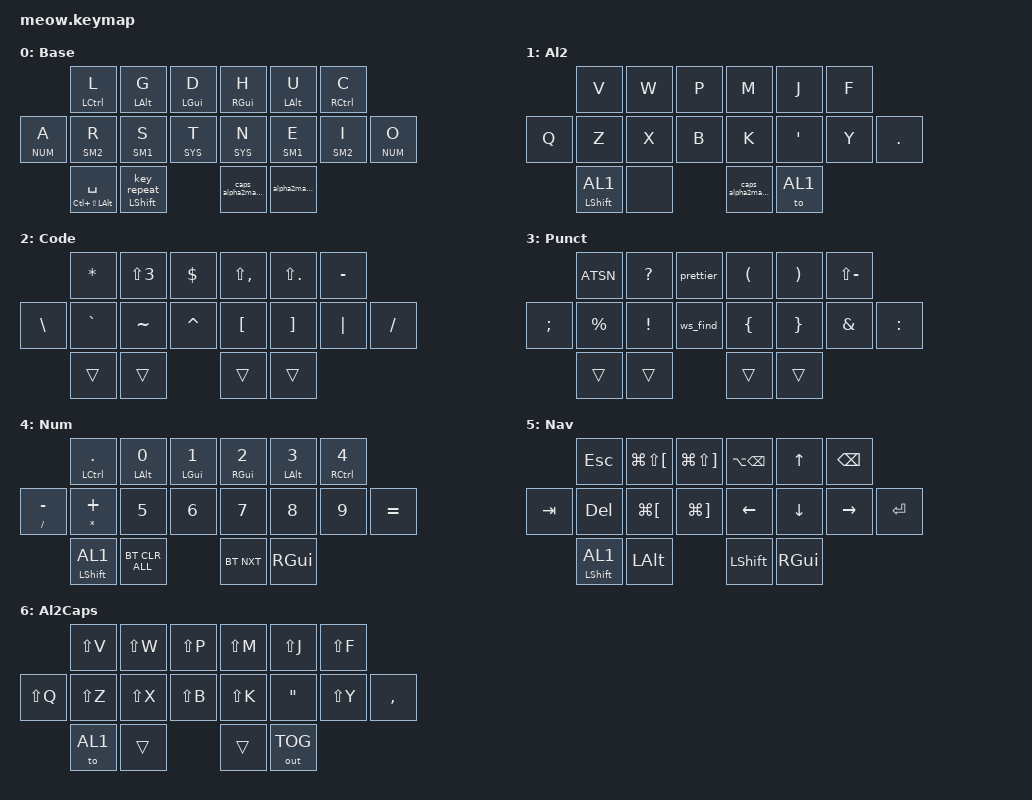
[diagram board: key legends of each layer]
/*
 * Copyright (c) 2020 The ZMK Contributors
 *
 * SPDX-License-Identifier: MIT
 */

#include <behaviors.dtsi>
#include <dt-bindings/zmk/keys.h>
#include <dt-bindings/zmk/bt.h>
#include <dt-bindings/zmk/outputs.h>

&mt {
    tapping-term-ms = <251>;
    flavor = "tap-preferred";
 };
&sk {
     release-after-ms = <2000>;
     quick-release;
 };

/* Layers */
#define AL1 0
#define AL2 1
#define SM1 2
#define SM2 3
#define NUM 4
#define SYS 5
#define AL2U 6
/ {
    combos {
        compatible = "zmk,combos";
    };

    behaviors {
        hm_l: homerow_mods_left {
            compatible = "zmk,behavior-hold-tap";
            label = "HOMEROW_MODS_L";
            #binding-cells = <2>;
            tapping-term-ms = <300>;
            quick-tap-ms = <250>;
            flavor = "tap-preferred";
            bindings = <&kp>, <&kp>;
        hold-trigger-key-positions = <3 4 5 10 11 12 13>; // right hand
        };
        hm_r: homerow_mods_right {
            compatible = "zmk,behavior-hold-tap";
            label = "HOMEROW_MODS_R";
            #binding-cells = <2>;
            tapping-term-ms = <300>;
            quick-tap-ms = <250>;
            flavor = "tap-preferred";
            bindings = <&kp>, <&kp>;
        hold-trigger-key-positions = <0 1 2 6 7 8 9>; // left hand
        };
        sr: shift_layer {
            compatible = "zmk,behavior-hold-tap";
            label = "SHIFT_LAYER";
            #binding-cells = <2>;
            tapping-term-ms = <300>;
            quick_tap_ms = <0>;
            flavor = "tap-preferred";
            bindings = <&kp>, <&to>;
        retro-tap;
        };
        hl_l: homerow_layers_left {
            compatible = "zmk,behavior-hold-tap";
            label = "HOMEROW_LAYERS_L";
            #binding-cells = <2>;
            tapping-term-ms = <220>;
            quick-tap-ms = <250>;
            flavor = "tap-preferred";
            bindings = <&mo>, <&kp>;
        hold-trigger-key-positions = <3 4 5 10 11 12 13>; // right hand
        };
        hl_r: homerow_layers_right {
            compatible = "zmk,behavior-hold-tap";
            label = "HOMEROW_LAYERS_R";
            #binding-cells = <2>;
            tapping-term-ms = <220>;
            quick-tap-ms = <250>;
            flavor = "tap-preferred";
            bindings = <&mo>, <&kp>;
        hold-trigger-key-positions = <0 1 2 6 7 8 9>; // left hand
        };
    td: tapdance {
            compatible = "zmk,behavior-hold-tap";
            label = "TAPDANCE";
            #binding-cells = <2>;
            tapping-term-ms = <190>;
            quick-tap-ms = <250>;
            flavor = "tap-preferred";
            bindings = <&kp>, <&kp>;
        };
    shrep: shift_repeat {
            compatible = "zmk,behavior-hold-tap";
            label = "SHIFT_REPEAT";
            #binding-cells = <2>;
            flavor = "hold-preferred";
            tapping-term-ms = <400>;
            quick-tap-ms = <200>;
            bindings = <&kp>, <&key_repeat>;
        };
    alpha2macro: behavior_macro_1 {
        compatible = "zmk,behavior-macro";
        label = "MACRO1";
        #binding-cells = <0>;
        bindings = < &sl AL2 >;
    };
    caps_alpha2macro: behavior_macro_2 {
        compatible = "zmk,behavior-macro";
        label = "MACRO2";
        #binding-cells = <0>;
        bindings = < &sl AL2U >;
    };
    };

    macros {
    ws_find: ws_find {
        compatible = "zmk,behavior-macro";
        label = "ws_find_macro";
        #binding-cells = <0>;
        bindings =
            <&macro_tap>,
            <&kp LEFT_SHIFT &kp LEFT_SHIFT>;
    };
    prettier: prettier {
        compatible = "zmk,behavior-macro";
        label = "prettier_macro";
        #binding-cells = <0>;
        bindings =
            <&macro_press>,
            <&kp LEFT_CONTROL &kp LEFT_ALT &kp O>,
            <&macro_release>,
            <&kp LEFT_CONTROL &kp LEFT_ALT &kp O>,
            <&macro_press>,
            <&kp LEFT_COMMAND &kp LEFT_SHIFT &kp LEFT_ALT &kp P>,
            <&macro_release>,
            <&kp LEFT_COMMAND &kp LEFT_SHIFT &kp LEFT_ALT &kp P>;
    };
};


//----------------------------------------------------------------------------------------------//
    //                  0       1       2                   3       4           5
    //          6       7       8       9                   10      11          12          13
    //                          14      15                  16      17
//----------------------------------------------------------------------------------------------//


       keymap {
                compatible = "zmk,keymap";

                alpha1 {
                label = "Base";
        bindings = <
                            &hm_l LCTL L    &hm_l LALT G    &hm_l LGUI D                &hm_r RGUI H    &hm_r LALT U        &hm_r RCTL C
            &hl_l NUM A     &hl_l SM2 R     &hl_l SM1 S     &hl_l SYS T                 &hl_r SYS N     &hl_r SM1 E         &hl_r SM2 I     &hl_r NUM O
                                &mt LC(LS(LALT)) SPC        &shrep LSHIFT 0             &caps_alpha2macro     &alpha2macro
        >;
        };

                        alpha2 {
                label = "Al2";
        bindings = <
                    &kp V       &kp W               &kp P           &kp M       &kp J                &kp F
        &kp Q       &kp Z       &kp X               &kp B           &kp K       &kp SQT              &kp Y     &kp DOT
                                &sr LSHIFT AL1      &none           &caps_alpha2macro   &to AL1
        >;
        };


                sym1 {
                label = "Code";
        bindings = <
                   &kp STAR     &kp LS(N3)  &kp DLLR                       &kp LS(COMMA)   &kp LS(DOT)     &kp MINUS
        &kp BSLH   &kp GRAVE    &kp TILDE   &kp CARET                      &kp LBKT        &kp RBKT        &kp PIPE    &kp SLASH
                                &trans      &trans                         &trans          &trans
        >;
        };
        sym2 {
        label = "Punct";
        bindings = <
                    &kp ATSN    &kp QMARK        &prettier                 &kp LPRN    &kp RPRN    &kp LS(MINUS)
        &kp SEMI    &kp PRCNT   &kp EXCL         &ws_find                  &kp LBRC    &kp RBRC    &kp AMPS    &kp COLON
                                &trans           &trans                    &trans      &trans

        >;
        };

        num {
        label = "Num";
        bindings = <
                          &hm_l LCTL DOT      &hm_l LALT N0   &hm_l LGUI N1       &hm_r RGUI N2   &hm_r LALT N3    &hm_r RCTL N4
        &td SLASH MINUS   &td STAR PLUS       &kp N5          &kp N6              &kp N7          &kp N8           &kp N9         &kp EQUAL
                                              &sr LSHIFT AL1  &bt BT_CLR_ALL      &bt BT_NXT      &kp RGUI
        >;
        };

        sys {
        label = "Nav";
        bindings = <
                            &kp ESC        &kp LG(LS(LBKT))    &kp LG(LS(RBKT))         &kp LA(BKSP)        &kp UP    &kp BKSP
        &kp TAB             &kp DEL        &kp LG(LBKT)        &kp LG(RBKT)             &kp LEFT            &kp DOWN  &kp RIGHT   &kp RET
                                           &sr LSHIFT AL1      &kp LALT                 &kp LSHIFT          &kp RGUI
        >;
        };

        alpha2cap {
        label = "Al2Caps";
        bindings = <
                    &kp LS(V)   &kp LS(W)   &kp LS(P)           &kp LS(M)   &kp LS(J)    &kp LS(F)
        &kp LS(Q)   &kp LS(Z)   &kp LS(X)   &kp LS(B)           &kp LS(K)   &kp DQT      &kp LS(Y)   &kp COMMA
                                &to AL1     &trans              &trans      &out OUT_TOG
        >;
        };

    };
};
